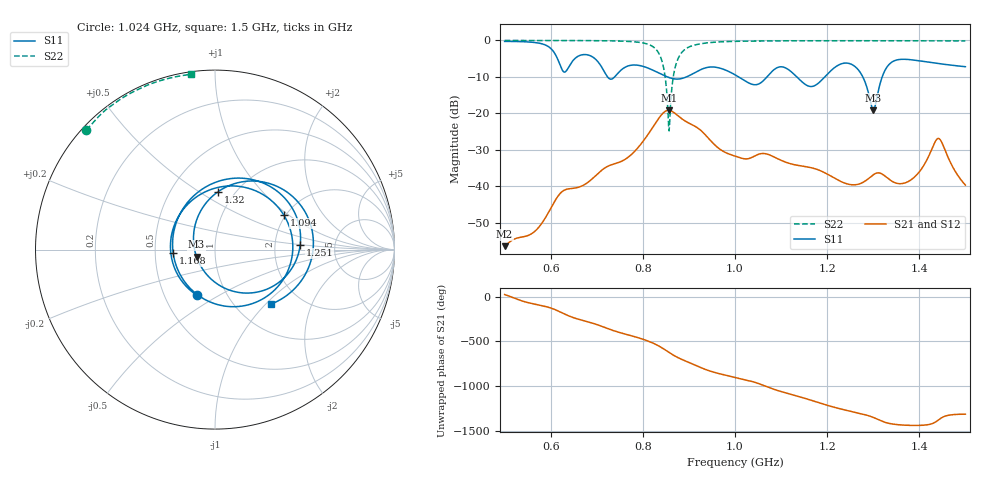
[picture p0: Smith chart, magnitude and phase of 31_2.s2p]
! TOUCHSTONE file generated by CST MICROWAVE STUDIO
! Date and time: Mon Nov 30 09:10:42 2020
! Project name: Scenario_1_Planar_Body_Tissue_Out_of_Line_v2.cst
! Parameters = {dy1=173; L_HA=400; Ltissue=700; MT=2.54; Rad_Dielectric=30; Rad_Lower=7.3; Rad_Upper=30; Wtissue=700; a_HA=580; a_WG=246; b_HA=500; b_WG=121; c_HA=0; c_WG=187; d_feed=85; dx1=346; h_feed=15; h_lower=18; h_upper=40; hfat=3; hgap=25; hmuscle=50; hskin=1.5}
! Header version: 2018
! Port assignment regex: !\s*Touchstone port\s*([0-9]+)\s*=\s*(CST MWS port|CST DS port)\s*([0-9]+|Zmin|Zmax)\s*\(\"(.*)\"\)(\s*mode\s*([0-9]+))?.*
! Touchstone port assignment:
! Touchstone port 1 = CST MWS port 1 ("")
! Touchstone port 2 = CST MWS port 2 ("")
# GHz S DB R 50
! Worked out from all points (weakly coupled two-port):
!   1003 points, 500 MHz to 1.5 GHz, reference 50 ohm
!   highest |S21| = -19.19 dB at 856 MHz (marker M1); lowest = -56.5 dB at 500 MHz (marker M2)
!   lowest |S11| = -19.1 dB at 1.3 GHz (marker M3), VSWR 1.25, Z = 40.6 - j3.3 ohm
!   |S11| at or under -10 dB: 852.9 MHz to 894.9 MHz (41.99 MHz wide, 4.8 % of centre); 1.008 GHz to 1.069 GHz (61.74 MHz wide, 5.94 % of centre); 1.134 GHz to 1.195 GHz (60.82 MHz wide, 5.22 % of centre) (the widest 3 of 5)
!   |S22| runs from -24.8 to 0.0 dB; largest |S21 - S12| = 9.6e-05
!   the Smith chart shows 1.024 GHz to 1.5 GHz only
!   S11 on the Smith chart (normalised r, x): 1.024 GHz: 0.72, -0.40; 1.094 GHz: 1.95, +0.92; 1.168 GHz: 0.62, -0.03; 1.251 GHz: 2.80, +0.19; 1.32 GHz: 0.84, +0.60; 1.5 GHz: 1.44, -1.08
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0.5  -0.26 -121.8  -56.47 22.1  -56.47 22.1  -0.01 151.1
0.667  -3.97 158.3  -39.98 97.6  -39.98 97.6  -0.04 138.4
0.718  -8.93 26.5  -34.96 14.7  -34.96 14.7  -0.09 132.5
0.742  -9.56 -97.7  -33.74 -29.0  -33.74 -29.0  -0.14 128.9
0.771  -6.89 175.7  -31.77 -70.8  -31.77 -70.8  -0.28 122.8
0.834  -8.90 41.7  -21.49 171.2  -21.49 171.2  -3.39 82.5
0.856  -10.15 -13.0  -19.19 100.2  -19.19 100.2  -23.55 -15.8
0.911  -8.98 179.5  -23.42 -37.8  -23.42 -37.8  -1.31 161.2
0.942  -7.36 81.7  -26.80 -103.0  -26.80 -103.0  -0.64 150.9
1  -9.43 -57.6  -31.75 178.3  -31.75 178.3  -0.25 140.2
1.024  -11.27 -111.9  -32.52 149.5  -32.52 149.5  -0.20 137.1
1.094  -7.35 26.7  -32.56 31.7  -32.56 31.7  -0.12 130.2
1.126  -9.04 -62.0  -34.02 -15.3  -34.02 -15.3  -0.10 127.4
1.167  -12.64 -172.1  -34.99 -77.2  -34.99 -77.2  -0.10 124.2
1.168  -12.62 -175.1  -35.02 -78.9  -35.02 -78.9  -0.10 124.1
1.214  -7.66 74.1  -37.67 -150.8  -37.67 -150.8  -0.08 120.5
1.251  -6.46 3.2  -39.58 162.6  -39.58 162.6  -0.08 117.7
1.3  -19.14 -158.6  -36.89 94.5  -36.89 94.5  -0.09 114.1
1.32  -9.81 86.9  -36.73 50.2  -36.73 50.2  -0.08 112.6
1.334  -6.65 53.8  -38.09 28.4  -38.09 28.4  -0.08 111.5
1.442  -6.35 -30.4  -26.91 68.2  -26.92 68.0  -0.11 103.0
1.5  -7.22 -44.1  -39.72 130.6  -39.72 130.6  -0.13 97.9
